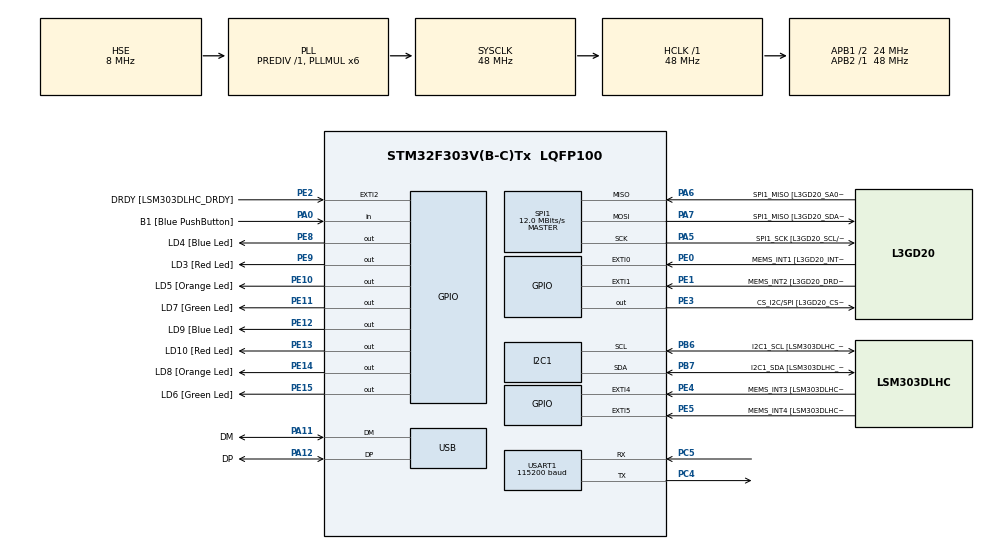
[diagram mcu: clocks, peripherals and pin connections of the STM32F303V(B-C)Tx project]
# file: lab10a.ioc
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I2C1.Timing=0x2000090E
I2C1.Timing-I2C=0x2000090E
Mcu.Family=STM32F3
Mcu.Name=STM32F303V(B-C)Tx
Mcu.Package=LQFP100
NVIC.PriorityGroup=NVIC_PRIORITYGROUP_0
PA0.GPIO_Label=B1 [Blue PushButton]
PA0.Signal=GPIO_Input
PA11.GPIO_Label=DM
PA11.Mode=Device
PA11.Signal=USB_DM
PA12.GPIO_Label=DP
PA12.Mode=Device
PA12.Signal=USB_DP
PA13.GPIO_Label=SWDIO
PA13.Mode=Serial_Wire
PA13.Signal=SYS_JTMS-SWDIO
PA14.GPIO_Label=SWCLK
PA14.Mode=Serial_Wire
PA14.Signal=SYS_JTCK-SWCLK
PA5.GPIO_Label=SPI1_SCK [L3GD20_SCL/SPC]
PA5.Mode=Full_Duplex_Master
PA5.Signal=SPI1_SCK
PA6.GPIO_Label=SPI1_MISO [L3GD20_SA0/SDO]
PA6.Mode=Full_Duplex_Master
PA6.Signal=SPI1_MISO
PA7.GPIO_Label=SPI1_MISO [L3GD20_SDA/SDI/SDO]
PA7.Mode=Full_Duplex_Master
PA7.Signal=SPI1_MOSI
PB3.GPIO_Label=SWO
PB3.Signal=SYS_JTDO-TRACESWO
PB6.GPIO_Label=I2C1_SCL [LSM303DLHC_SCL]
PB6.GPIO_Pu=GPIO_PULLUP
PB6.Mode=I2C
PB6.Signal=I2C1_SCL
PB7.GPIO_Label=I2C1_SDA [LSM303DLHC_SDA]
PB7.GPIO_Pu=GPIO_PULLUP
PB7.Mode=I2C
PB7.Signal=I2C1_SDA
PC14-OSC32_IN.GPIO_Label=OSC32_IN
PC14-OSC32_IN.Signal=RCC_OSC32_IN
PC15-OSC32_OUT.GPIO_Label=OSC32_OUT
PC15-OSC32_OUT.Signal=RCC_OSC32_OUT
PC4.Mode=Asynchronous
PC4.Signal=USART1_TX
PC5.Mode=Asynchronous
PC5.Signal=USART1_RX
PE0.GPIO_Label=MEMS_INT1 [L3GD20_INT1]
PE0.GPIO_ModeDefaultEXTI=GPIO_MODE_EVT_RISING
PE0.Signal=GPXTI0
PE1.GPIO_Label=MEMS_INT2 [L3GD20_DRDY/INT2]
PE1.GPIO_ModeDefaultEXTI=GPIO_MODE_EVT_RISING
PE1.Signal=GPXTI1
PE10.GPIO_Label=LD5 [Orange Led]
PE10.Signal=GPIO_Output
PE11.GPIO_Label=LD7 [Green Led]
PE11.Signal=GPIO_Output
PE12.GPIO_Label=LD9 [Blue Led]
PE12.Signal=GPIO_Output
PE13.GPIO_Label=LD10 [Red Led]
PE13.Signal=GPIO_Output
PE14.GPIO_Label=LD8 [Orange Led]
PE14.Signal=GPIO_Output
PE15.GPIO_Label=LD6 [Green Led]
PE15.Signal=GPIO_Output
PE2.GPIO_Label=DRDY [LSM303DLHC_DRDY]
PE2.GPIO_ModeDefaultEXTI=GPIO_MODE_EVT_RISING
PE2.Signal=GPXTI2
PE3.GPIO_Label=CS_I2C/SPI [L3GD20_CS_I2C/SPI]
PE3.Signal=GPIO_Output
PE4.GPIO_Label=MEMS_INT3 [LSM303DLHC_INT1]
PE4.GPIO_ModeDefaultEXTI=GPIO_MODE_EVT_RISING
PE4.Signal=GPXTI4
PE5.GPIO_Label=MEMS_INT4 [LSM303DLHC_INT2]
PE5.GPIO_ModeDefaultEXTI=GPIO_MODE_EVT_RISING
PE5.Signal=GPXTI5
PE8.GPIO_Label=LD4 [Blue Led]
PE8.Signal=GPIO_Output
PE9.GPIO_Label=LD3 [Red Led]
PE9.Signal=GPIO_Output
PF0-OSC_IN.GPIO_Label=OSC_IN
PF0-OSC_IN.Mode=HSE-External-Clock-Source
PF0-OSC_IN.Signal=RCC_OSC_IN
PF1-OSC_OUT.GPIO_Label=OSC_OUT
PF1-OSC_OUT.Signal=RCC_OSC_OUT
ProjectManager.HeapSize=0x200
ProjectManager.StackSize=0x400
ProjectManager.TargetToolchain=CMake
RCC.AHBFreq_Value=48000000
RCC.APB1CLKDivider=RCC_HCLK_DIV2
RCC.APB1Freq_Value=24000000
RCC.APB1TimFreq_Value=48000000
RCC.APB2Freq_Value=48000000
RCC.APB2TimFreq_Value=48000000
RCC.CortexFreq_Value=48000000
RCC.HCLKFreq_Value=48000000
RCC.HSE_VALUE=8000000
RCC.HSI_VALUE=8000000
RCC.LSE_VALUE=32768
RCC.PLLMUL=RCC_PLL_MUL6
RCC.SYSCLKFreq_VALUE=48000000
RCC.SYSCLKSourceVirtual=RCC_SYSCLKSOURCE_PLLCLK
RCC.USBFreq_Value=48000000
SPI1.BaudRatePrescaler=SPI_BAUDRATEPRESCALER_4
SPI1.BaudRatePrescaler-Full_Duplex_Master=SPI_BAUDRATEPRESCALER_2
SPI1.CalculateBaudRate=12.0 MBits/s
SPI1.CalculateBaudRate-Full_Duplex_Master=24.0 MBits/s
SPI1.Direction=SPI_DIRECTION_2LINES
SPI1.Mode=SPI_MODE_MASTER
SPI1.Mode-Full_Duplex_Master=SPI_MODE_MASTER
SPI1.VirtualType=VM_MASTER
USART1.BaudRate=115200
USART1.VirtualMode-Asynchronous=VM_ASYNC
board=STM32F3DISCOVERY

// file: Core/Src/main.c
/* USER CODE BEGIN Header */
/**
  ******************************************************************************
  * @file           : main.c
  * @brief          : Main program body
  ******************************************************************************
  * @attention
  *
  * Copyright (c) 2026 STMicroelectronics.
  * All rights reserved.
  *
  * This software is licensed under terms that can be found in the LICENSE file
  * in the root directory of this software component.
  * If no LICENSE file comes with this software, it is provided AS-IS.
  *
  ******************************************************************************
  */
/* USER CODE END Header */
#include "main.h"

/* USER CODE BEGIN Includes */
#include "string.h"
#include "stdlib.h"
#include "stdio.h"
#include "stdbool.h"
/* USER CODE END Includes */

I2C_HandleTypeDef hi2c1;

SPI_HandleTypeDef hspi1;

UART_HandleTypeDef huart1;

PCD_HandleTypeDef hpcd_USB_FS;

void SystemClock_Config(void);
static void MX_GPIO_Init(void);
static void MX_I2C1_Init(void);
static void MX_SPI1_Init(void);
static void MX_USART1_UART_Init(void);
static void MX_USB_PCD_Init(void);
/* USER CODE BEGIN PFP */
// Task 1:
void task1(int n) {
  char msg[64];
  int len;
  int* arr1 = (int*) malloc(n * sizeof(int));
  if (arr1 == NULL) {
    len = sprintf(msg , "Memory allocation for malloc failed\r\n");
    HAL_UART_Transmit(&huart1 , (uint8_t*) msg , len , HAL_MAX_DELAY);
    return;
  }
  for (int i = 0 ; i < n ; i++) {
    arr1[i] = i * i;
  }
  int* arr2 = calloc(n , sizeof(int));
  if (arr2 == NULL) {
    len = sprintf(msg , "Memory allocation for calloc failed\r\n");
    HAL_UART_Transmit(&huart1 , (uint8_t*) msg , len , HAL_MAX_DELAY);
    free(arr1);
    arr1 = NULL;
    return;
  }
  bool flag = true;
  for (int i = 0 ; i < n ; i++) {
    if (arr2[i] != 0) {
      flag = false;
      break;
    }
  }
  if (!flag) {
    len = sprintf(msg , "All elements are not initially zero for calloc\r\n");
    HAL_UART_Transmit(&huart1 , (uint8_t*) msg , len , HAL_MAX_DELAY);
    free(arr1);
    free(arr2);
    arr1 = NULL;
    arr2 = NULL;
    return;
  }
  for (int i = 0 ; i < n ; i++) {
    arr2[i] = i + 1;
  }
  len = sprintf(msg , "Printing malloc elements\r\n");
  HAL_UART_Transmit(&huart1 , (uint8_t*) msg , len , HAL_MAX_DELAY);
  for (int i = 0 ; i < n ; i++) {
    len = sprintf(msg , "Element %d = %d \r\n" , i , arr1[i]);
    HAL_UART_Transmit(&huart1 , (uint8_t*) msg , len , HAL_MAX_DELAY);
  }
  len = sprintf(msg , "Printing calloc elements\r\n");
  HAL_UART_Transmit(&huart1 , (uint8_t*) msg , len , HAL_MAX_DELAY);
  for (int i = 0 ; i < n ; i++) {
    len = sprintf(msg , "Element %d = %d \r\n" , i , arr2[i]);
    HAL_UART_Transmit(&huart1 , (uint8_t*) msg , len , HAL_MAX_DELAY);
  }
  free(arr1);
  free(arr2);
  arr1 = NULL;
  arr2 = NULL;
}
/* USER CODE END PFP */

int main(void)
{

  /* MCU Configuration--------------------------------------------------------*/

  /* Reset of all peripherals, Initializes the Flash interface and the Systick. */
  HAL_Init();

  /* Configure the system clock */
  SystemClock_Config();

  /* Initialize all configured peripherals */
  MX_GPIO_Init();
  MX_I2C1_Init();
  MX_SPI1_Init();
  MX_USART1_UART_Init();
  MX_USB_PCD_Init();
  /* USER CODE BEGIN 2 */
  // Task 1:
  int n = 5;
  task1(n);
  /* USER CODE END 2 */

  /* Infinite loop */
  while (1)
  {

  }
}

void SystemClock_Config(void)
{
  RCC_OscInitTypeDef RCC_OscInitStruct = {0};
  RCC_ClkInitTypeDef RCC_ClkInitStruct = {0};
  RCC_PeriphCLKInitTypeDef PeriphClkInit = {0};

  /** Initializes the RCC Oscillators according to the specified parameters
  * in the RCC_OscInitTypeDef structure.
  */
  RCC_OscInitStruct.OscillatorType = RCC_OSCILLATORTYPE_HSI|RCC_OSCILLATORTYPE_HSE;
  RCC_OscInitStruct.HSEState = RCC_HSE_BYPASS;
  RCC_OscInitStruct.HSEPredivValue = RCC_HSE_PREDIV_DIV1;
  RCC_OscInitStruct.HSIState = RCC_HSI_ON;
  RCC_OscInitStruct.HSICalibrationValue = RCC_HSICALIBRATION_DEFAULT;
  RCC_OscInitStruct.PLL.PLLState = RCC_PLL_ON;
  RCC_OscInitStruct.PLL.PLLSource = RCC_PLLSOURCE_HSE;
  RCC_OscInitStruct.PLL.PLLMUL = RCC_PLL_MUL6;
  if (HAL_RCC_OscConfig(&RCC_OscInitStruct) != HAL_OK)
  {
    Error_Handler();
  }

  /** Initializes the CPU, AHB and APB buses clocks
  */
  RCC_ClkInitStruct.ClockType = RCC_CLOCKTYPE_HCLK|RCC_CLOCKTYPE_SYSCLK
                              |RCC_CLOCKTYPE_PCLK1|RCC_CLOCKTYPE_PCLK2;
  RCC_ClkInitStruct.SYSCLKSource = RCC_SYSCLKSOURCE_PLLCLK;
  RCC_ClkInitStruct.AHBCLKDivider = RCC_SYSCLK_DIV1;
  RCC_ClkInitStruct.APB1CLKDivider = RCC_HCLK_DIV2;
  RCC_ClkInitStruct.APB2CLKDivider = RCC_HCLK_DIV1;

  if (HAL_RCC_ClockConfig(&RCC_ClkInitStruct, FLASH_LATENCY_1) != HAL_OK)
  {
    Error_Handler();
  }
  PeriphClkInit.PeriphClockSelection = RCC_PERIPHCLK_USB|RCC_PERIPHCLK_USART1
                              |RCC_PERIPHCLK_I2C1;
  PeriphClkInit.Usart1ClockSelection = RCC_USART1CLKSOURCE_PCLK2;
  PeriphClkInit.I2c1ClockSelection = RCC_I2C1CLKSOURCE_HSI;
  PeriphClkInit.USBClockSelection = RCC_USBCLKSOURCE_PLL;
  if (HAL_RCCEx_PeriphCLKConfig(&PeriphClkInit) != HAL_OK)
  {
    Error_Handler();
  }
}

static void MX_I2C1_Init(void)
{

  hi2c1.Instance = I2C1;
  hi2c1.Init.Timing = 0x2000090E;
  hi2c1.Init.OwnAddress1 = 0;
  hi2c1.Init.AddressingMode = I2C_ADDRESSINGMODE_7BIT;
  hi2c1.Init.DualAddressMode = I2C_DUALADDRESS_DISABLE;
  hi2c1.Init.OwnAddress2 = 0;
  hi2c1.Init.OwnAddress2Masks = I2C_OA2_NOMASK;
  hi2c1.Init.GeneralCallMode = I2C_GENERALCALL_DISABLE;
  hi2c1.Init.NoStretchMode = I2C_NOSTRETCH_DISABLE;
  if (HAL_I2C_Init(&hi2c1) != HAL_OK)
  {
    Error_Handler();
  }

  /** Configure Analogue filter
  */
  if (HAL_I2CEx_ConfigAnalogFilter(&hi2c1, I2C_ANALOGFILTER_ENABLE) != HAL_OK)
  {
    Error_Handler();
  }

  /** Configure Digital filter
  */
  if (HAL_I2CEx_ConfigDigitalFilter(&hi2c1, 0) != HAL_OK)
  {
    Error_Handler();
  }

}

static void MX_SPI1_Init(void)
{

  /* SPI1 parameter configuration*/
  hspi1.Instance = SPI1;
  hspi1.Init.Mode = SPI_MODE_MASTER;
  hspi1.Init.Direction = SPI_DIRECTION_2LINES;
  hspi1.Init.DataSize = SPI_DATASIZE_4BIT;
  hspi1.Init.CLKPolarity = SPI_POLARITY_LOW;
  hspi1.Init.CLKPhase = SPI_PHASE_1EDGE;
  hspi1.Init.NSS = SPI_NSS_SOFT;
  hspi1.Init.BaudRatePrescaler = SPI_BAUDRATEPRESCALER_4;
  hspi1.Init.FirstBit = SPI_FIRSTBIT_MSB;
  hspi1.Init.TIMode = SPI_TIMODE_DISABLE;
  hspi1.Init.CRCCalculation = SPI_CRCCALCULATION_DISABLE;
  hspi1.Init.CRCPolynomial = 7;
  hspi1.Init.CRCLength = SPI_CRC_LENGTH_DATASIZE;
  hspi1.Init.NSSPMode = SPI_NSS_PULSE_ENABLE;
  if (HAL_SPI_Init(&hspi1) != HAL_OK)
  {
    Error_Handler();
  }

}

static void MX_USART1_UART_Init(void)
{

  huart1.Instance = USART1;
  huart1.Init.BaudRate = 115200;
  huart1.Init.WordLength = UART_WORDLENGTH_8B;
  huart1.Init.StopBits = UART_STOPBITS_1;
  huart1.Init.Parity = UART_PARITY_NONE;
  huart1.Init.Mode = UART_MODE_TX_RX;
  huart1.Init.HwFlowCtl = UART_HWCONTROL_NONE;
  huart1.Init.OverSampling = UART_OVERSAMPLING_16;
  huart1.Init.OneBitSampling = UART_ONE_BIT_SAMPLE_DISABLE;
  huart1.AdvancedInit.AdvFeatureInit = UART_ADVFEATURE_NO_INIT;
  if (HAL_UART_Init(&huart1) != HAL_OK)
  {
    Error_Handler();
  }

}

static void MX_USB_PCD_Init(void)
{

  hpcd_USB_FS.Instance = USB;
  hpcd_USB_FS.Init.dev_endpoints = 8;
  hpcd_USB_FS.Init.speed = PCD_SPEED_FULL;
  hpcd_USB_FS.Init.phy_itface = PCD_PHY_EMBEDDED;
  hpcd_USB_FS.Init.low_power_enable = DISABLE;
  hpcd_USB_FS.Init.battery_charging_enable = DISABLE;
  if (HAL_PCD_Init(&hpcd_USB_FS) != HAL_OK)
  {
    Error_Handler();
  }

}

static void MX_GPIO_Init(void)
{
  GPIO_InitTypeDef GPIO_InitStruct = {0};

  /* GPIO Ports Clock Enable */
  __HAL_RCC_GPIOE_CLK_ENABLE();
  __HAL_RCC_GPIOC_CLK_ENABLE();
  __HAL_RCC_GPIOF_CLK_ENABLE();
  __HAL_RCC_GPIOA_CLK_ENABLE();
  __HAL_RCC_GPIOB_CLK_ENABLE();

  /*Configure GPIO pin Output Level */
  HAL_GPIO_WritePin(GPIOE, CS_I2C_SPI_Pin|LD4_Pin|LD3_Pin|LD5_Pin
                          |LD7_Pin|LD9_Pin|LD10_Pin|LD8_Pin
                          |LD6_Pin, GPIO_PIN_RESET);

  /*Configure GPIO pins : DRDY_Pin MEMS_INT3_Pin MEMS_INT4_Pin MEMS_INT1_Pin
                           MEMS_INT2_Pin */
  GPIO_InitStruct.Pin = DRDY_Pin|MEMS_INT3_Pin|MEMS_INT4_Pin|MEMS_INT1_Pin
                          |MEMS_INT2_Pin;
  GPIO_InitStruct.Mode = GPIO_MODE_EVT_RISING;
  GPIO_InitStruct.Pull = GPIO_NOPULL;
  HAL_GPIO_Init(GPIOE, &GPIO_InitStruct);

  /*Configure GPIO pins : CS_I2C_SPI_Pin LD4_Pin LD3_Pin LD5_Pin
                           LD7_Pin LD9_Pin LD10_Pin LD8_Pin
                           LD6_Pin */
  GPIO_InitStruct.Pin = CS_I2C_SPI_Pin|LD4_Pin|LD3_Pin|LD5_Pin
                          |LD7_Pin|LD9_Pin|LD10_Pin|LD8_Pin
                          |LD6_Pin;
  GPIO_InitStruct.Mode = GPIO_MODE_OUTPUT_PP;
  GPIO_InitStruct.Pull = GPIO_NOPULL;
  GPIO_InitStruct.Speed = GPIO_SPEED_FREQ_LOW;
  HAL_GPIO_Init(GPIOE, &GPIO_InitStruct);

  /*Configure GPIO pin : B1_Pin */
  GPIO_InitStruct.Pin = B1_Pin;
  GPIO_InitStruct.Mode = GPIO_MODE_INPUT;
  GPIO_InitStruct.Pull = GPIO_NOPULL;
  HAL_GPIO_Init(B1_GPIO_Port, &GPIO_InitStruct);

}

void Error_Handler(void)
{
  __disable_irq();
  while (1)
  {
  }
}
